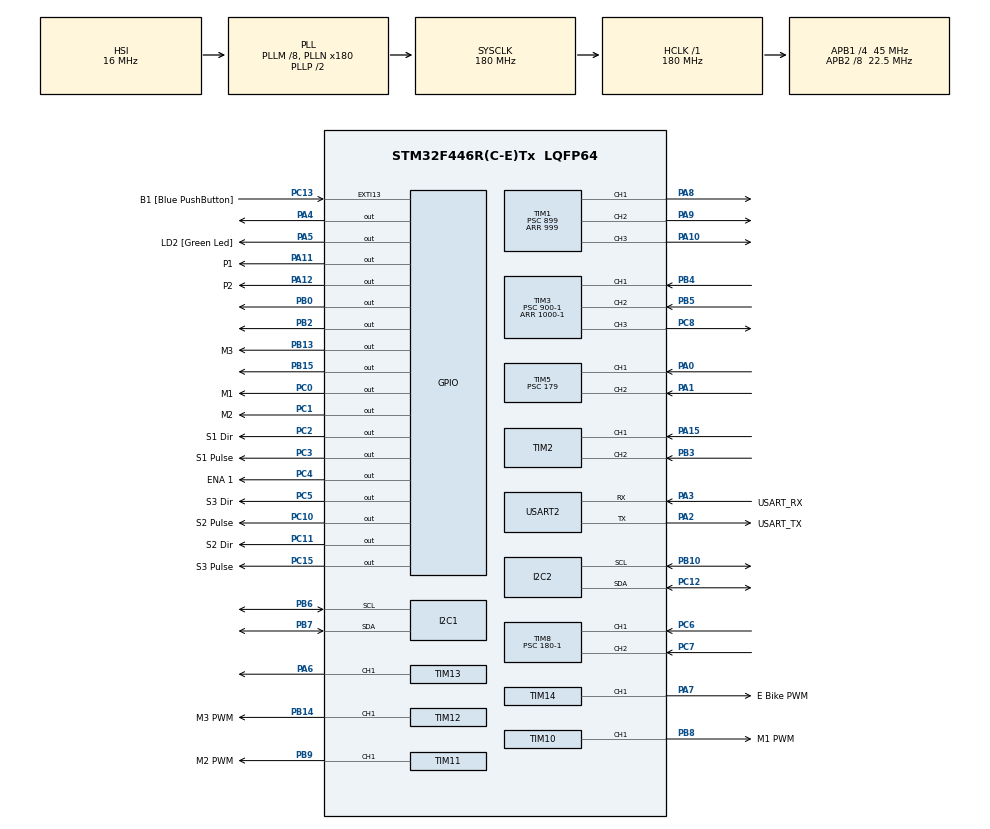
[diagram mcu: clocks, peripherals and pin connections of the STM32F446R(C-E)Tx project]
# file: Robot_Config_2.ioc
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I2C2.OwnAddress=0x10
Mcu.Family=STM32F4
Mcu.Name=STM32F446R(C-E)Tx
Mcu.Package=LQFP64
NVIC.I2C2_ER_IRQn=true\:0\:0\:false\:false\:true\:true\:true\:true
NVIC.I2C2_EV_IRQn=true\:0\:0\:false\:false\:true\:true\:true\:true
NVIC.PriorityGroup=NVIC_PRIORITYGROUP_0
PA0-WKUP.Signal=S_TIM5_CH1
PA1.Signal=S_TIM5_CH2
PA10.Signal=S_TIM1_CH3
PA11.GPIO_Label=P1
PA11.Signal=GPIO_Output
PA12.GPIO_Label=P2
PA12.Signal=GPIO_Output
PA13.GPIO_Label=TMS
PA13.Mode=Serial_Wire
PA13.Signal=SYS_JTMS-SWDIO
PA14.GPIO_Label=TCK
PA14.Mode=Serial_Wire
PA14.Signal=SYS_JTCK-SWCLK
PA15.GPIO_PuPd=GPIO_PULLUP
PA15.Signal=S_TIM2_CH1_ETR
PA2.GPIO_Label=USART_TX
PA2.Mode=Asynchronous
PA2.Signal=USART2_TX
PA3.GPIO_Label=USART_RX
PA3.Mode=Asynchronous
PA3.Signal=USART2_RX
PA4.Signal=GPIO_Output
PA5.GPIO_Label=LD2 [Green Led]
PA5.Signal=GPIO_Output
PA6.Signal=S_TIM13_CH1
PA7.GPIO_Label=E Bike PWM
PA7.Signal=S_TIM14_CH1
PA8.Signal=S_TIM1_CH1
PA9.Signal=S_TIM1_CH2
PB0.Signal=GPIO_Output
PB10.Mode=I2C
PB10.Signal=I2C2_SCL
PB13.GPIO_Label=M3
PB13.Signal=GPIO_Output
PB14.GPIO_Label=M3 PWM
PB14.Signal=S_TIM12_CH1
PB15.Signal=GPIO_Output
PB2.Signal=GPIO_Output
PB3.GPIO_PuPd=GPIO_PULLUP
PB3.Signal=S_TIM2_CH2
PB4.GPIO_PuPd=GPIO_PULLUP
PB4.Signal=S_TIM3_CH1
PB5.GPIO_PuPd=GPIO_PULLUP
PB5.Signal=S_TIM3_CH2
PB6.Mode=I2C
PB6.Signal=I2C1_SCL
PB7.Mode=I2C
PB7.Signal=I2C1_SDA
PB8.GPIO_Label=M1 PWM
PB8.Signal=S_TIM10_CH1
PB9.GPIO_Label=M2 PWM
PB9.Signal=S_TIM11_CH1
PC0.GPIO_Label=M1
PC0.Signal=GPIO_Output
PC1.GPIO_Label=M2
PC1.Signal=GPIO_Output
PC10.GPIO_Label=S2 Pulse
PC10.Signal=GPIO_Output
PC11.GPIO_Label=S2 Dir
PC11.Signal=GPIO_Output
PC12.Mode=I2C
PC12.Signal=I2C2_SDA
PC13.GPIO_Label=B1 [Blue PushButton]
PC13.GPIO_ModeDefaultEXTI=GPIO_MODE_IT_FALLING
PC13.Signal=GPXTI13
PC14-OSC32_IN.Signal=RCC_OSC32_IN
PC15-OSC32_OUT.GPIO_Label=S3 Pulse
PC15-OSC32_OUT.Signal=GPIO_Output
PC2.GPIO_Label=S1 Dir
PC2.Signal=GPIO_Output
PC3.GPIO_Label=S1 Pulse
PC3.Signal=GPIO_Output
PC4.GPIO_Label=ENA 1
PC4.Signal=GPIO_Output
PC5.GPIO_Label=S3 Dir
PC5.Signal=GPIO_Output
PC6.Signal=S_TIM8_CH1
PC7.Signal=S_TIM8_CH2
PC8.Signal=S_TIM3_CH3
PH0-OSC_IN.Mode=HSE-External-Oscillator
PH0-OSC_IN.Signal=RCC_OSC_IN
PH1-OSC_OUT.Mode=HSE-External-Oscillator
PH1-OSC_OUT.Signal=RCC_OSC_OUT
ProjectManager.HeapSize=0x200
ProjectManager.StackSize=0x400
ProjectManager.TargetToolchain=STM32CubeIDE
RCC.48MHZClocksFreq_Value=84000000
RCC.AHBFreq_Value=180000000
RCC.APB1CLKDivider=RCC_HCLK_DIV4
RCC.APB1Freq_Value=45000000
RCC.APB1TimFreq_Value=90000000
RCC.APB2CLKDivider=RCC_HCLK_DIV8
RCC.APB2Freq_Value=22500000
RCC.APB2TimFreq_Value=45000000
RCC.CortexFreq_Value=180000000
RCC.FLatency-AdvancedSettings=FLASH_LATENCY_5
RCC.HCLKFreq_Value=180000000
RCC.HSE_VALUE=8000000
RCC.HSI_VALUE=16000000
RCC.PLLM=8
RCC.PLLN=180
RCC.SYSCLKFreq_VALUE=180000000
RCC.SYSCLKSource=RCC_SYSCLKSOURCE_PLLCLK
RCC.USBFreq_Value=180000000
RCC.VCOOutputFreq_Value=360000000
SH.S_TIM10_CH1.0=TIM10_CH1,PWM Generation1 CH1
SH.S_TIM11_CH1.0=TIM11_CH1,PWM Generation1 CH1
SH.S_TIM12_CH1.0=TIM12_CH1,PWM Generation1 CH1
SH.S_TIM13_CH1.0=TIM13_CH1,PWM Generation1 CH1
SH.S_TIM14_CH1.0=TIM14_CH1,PWM Generation1 CH1
SH.S_TIM1_CH1.0=TIM1_CH1,PWM Generation1 CH1
SH.S_TIM1_CH2.0=TIM1_CH2,PWM Generation2 CH2
SH.S_TIM1_CH3.0=TIM1_CH3,PWM Generation3 CH3
SH.S_TIM2_CH1_ETR.0=TIM2_CH1,Encoder_Interface
SH.S_TIM2_CH2.0=TIM2_CH2,Encoder_Interface
SH.S_TIM3_CH1.0=TIM3_CH1,Encoder_Interface
SH.S_TIM3_CH2.0=TIM3_CH2,Encoder_Interface
SH.S_TIM3_CH3.0=TIM3_CH3,PWM Generation3 CH3
SH.S_TIM5_CH1.0=TIM5_CH1,Encoder_Interface
SH.S_TIM5_CH2.0=TIM5_CH2,Encoder_Interface
SH.S_TIM8_CH1.0=TIM8_CH1,Encoder_Interface
SH.S_TIM8_CH2.0=TIM8_CH2,Encoder_Interface
TIM1.Channel-PWM\ Generation1\ CH1=TIM_CHANNEL_1
TIM1.Channel-PWM\ Generation2\ CH2=TIM_CHANNEL_2
TIM1.Channel-PWM\ Generation3\ CH3=TIM_CHANNEL_3
TIM1.Period=999
TIM1.Prescaler=899
TIM10.Channel=TIM_CHANNEL_1
TIM10.Period=999
TIM10.Prescaler=179
TIM11.Channel=TIM_CHANNEL_1
TIM11.Period=999
TIM11.Prescaler=179
TIM12.Channel-PWM\ Generation1\ CH1=TIM_CHANNEL_1
TIM12.Period=999
TIM12.Prescaler=179
TIM13.Channel=TIM_CHANNEL_1
TIM13.Period=999
TIM13.Prescaler=179
TIM14.Channel=TIM_CHANNEL_1
TIM14.Period=999
TIM14.Prescaler=179
TIM3.Channel-PWM\ Generation3\ CH3=TIM_CHANNEL_3
TIM3.Period=1000-1
TIM3.Prescaler=900-1
TIM5.Period=999
TIM5.Prescaler=179
TIM8.Period=1000-1
TIM8.Prescaler=180-1
USART2.VirtualMode=VM_ASYNC
VP_TIM10_VS_ClockSourceINT.Mode=Enable_Timer
VP_TIM11_VS_ClockSourceINT.Mode=Enable_Timer
VP_TIM12_VS_ClockSourceINT.Mode=Internal
VP_TIM13_VS_ClockSourceINT.Mode=Enable_Timer
VP_TIM14_VS_ClockSourceINT.Mode=Enable_Timer
VP_TIM1_VS_ClockSourceINT.Mode=Internal
board=NUCLEO-F446RE

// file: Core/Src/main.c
/* USER CODE BEGIN Header */
/**
 ******************************************************************************
 * @file           : main.c
 * @brief          : Main program body
 ******************************************************************************
 * @attention
 *
 * Copyright (c) 2025 STMicroelectronics.
 * All rights reserved.
 *
 * This software is licensed under terms that can be found in the LICENSE file
 * in the root directory of this software component.
 * If no LICENSE file comes with this software, it is provided AS-IS.
 *
 ******************************************************************************
 */
/* USER CODE END Header */
#include "main.h"

/* USER CODE BEGIN Includes */

#include<stdio.h>
#include<inttypes.h>
#include<Math.h>
#include <stdbool.h>
#include <stdlib.h>
#include <string.h>
//#define WHEEL_RADIUS        63.5f    // meters
//#define ENCODER_COUNTS_PER_REV  349.9844447f // Encoder counts per wheel revolution
//#define L                   0.314f     // Distance from robot center to wheels (meters)
#define STEPS 240

// Global variables
float x_global = 0.0f;      // Global X position (meters)
float y_global = 0.0f;      // Global Y position (meters)
float theta_prev = 0.0f;    // Previous IMU yaw (radians)
int32_t encoder_prev[3] = { 0 }; // Previous encoder counts for wheels 1, 2, 3

#define pi 3.1415926535
#define PI 3.1415926535

#define l0 0.3

#define I2C_SLAVE_ADDRESS 0x08
/* USER CODE END Includes */

I2C_HandleTypeDef hi2c1;
I2C_HandleTypeDef hi2c2;

TIM_HandleTypeDef htim1;
TIM_HandleTypeDef htim2;
TIM_HandleTypeDef htim3;
TIM_HandleTypeDef htim5;
TIM_HandleTypeDef htim8;
TIM_HandleTypeDef htim10;
TIM_HandleTypeDef htim11;
TIM_HandleTypeDef htim12;
TIM_HandleTypeDef htim13;
TIM_HandleTypeDef htim14;

UART_HandleTypeDef huart2;

/* USER CODE BEGIN PV */
double wfl, wfr, wrl, wrr, wz;
const double r = 75;
double target_wf = 0, target_wrl = 0, target_wrr = 0;
double current_wf = 0, current_wrl = 0, current_wrr = 0;
const double decelerationRate = 30.0;
double w;
double rL, thetaL, rR, thetaR;
const int deadzone = 40;

static uint32_t last_step_time = 0;
static uint32_t last_step_time1 = 0;
static int step_state = 0;
static int step_state1 = 0;
static int direction1 = 1;
int step_delay = 1;
int step_delay1 = 1;
static int stepper_running = 0;  // Toggle flag
static int stepper_running1 = 0;  // Toggle flag
static int ebike_running = 0;  // Toggle flag
static int prev_cir = 0;
static int prev_tri = 0;
static int prev_cro = 0;
static int prev_squ = 0;
static int prev_down = 0;
static int prev_ll1 = 0;
static int prev_rr1 = 0;
static int prev_ll2 = 0;
static int prev_rr2 = 0;
uint32_t target_steps = 0;
uint32_t current_steps = 0;
uint32_t target_steps1 = 0;
uint32_t current_steps1 = 0;
uint32_t drib_speed = 70;

// Encoder counters
int16_t signed_counter1 = 0;
int32_t signed_counter2 = 0;
int16_t signed_counter3 = 0;

uint8_t rxbuff[16];
volatile uint8_t dataReceived = 0;
int slow = 125;
int fast = 850;
int Buff1 = 50;
int Buff2 = -50;
int BuffP = 50;
int BuffN = -50;
//int target_wf, target_wrr, target_wrl, w;
int32_t lx, ly, rx, ry, cro, squ, tri, cir, up, down, left, right, ll1, rr1,
		ll2, rr2;
//int deadzone = 50;
//int l0 = 310;
//float cos30 = (sqrt(3)/2);
float cos30 = 0.5;

float dist1 = 0.0f;
float dist2 = 0.0f;
float dist3 = 0.0f;
float dist4 = 0.0f;

float last_encoder1 = 0.0f;
float last_encoder2 = 0.0f;
float last_encoder3 = 0.0f;

typedef enum {
	STOP, FORWARD, BACKWARD, RIGHT, LEFT, CLOCKWISE, ANTICLOCKWISE
} MovementState;

// Global position and orientation
volatile float x = 0.0f; // mm
volatile float y = 0.0f; // mm
volatile float theta = 0.0f; // radians

// Encoder state
volatile int32_t prev_encoder5 = 0;
volatile int32_t prev_encoder10 = 0;
volatile int32_t prev_encoder11 = 0;

//BNO055_Data_t imu_data, imuData;

float yaw = 0, q0 = 0, q1 = 0, q2 = 0, q3 = 0;

// pneumatics
static int pneumatic_open = 0;

//servo
static int servoDir = 50;
/* USER CODE END PV */

void SystemClock_Config(void);
static void MX_GPIO_Init(void);
static void MX_USART2_UART_Init(void);
static void MX_TIM1_Init(void);
static void MX_TIM8_Init(void);
static void MX_I2C1_Init(void);
static void MX_TIM5_Init(void);
static void MX_TIM10_Init(void);
static void MX_TIM11_Init(void);
static void MX_TIM13_Init(void);
static void MX_TIM2_Init(void);
static void MX_TIM3_Init(void);
static void MX_TIM12_Init(void);
static void MX_TIM14_Init(void);
static void MX_I2C2_Init(void);

/* USER CODE BEGIN 0 */

//void HAL_I2C_SlaveRxCpltCallback(I2C_HandleTypeDef *hi2c) {
//	if (hi2c->Instance == I2C2) {
//		// Set flag to indicate data received
//		dataReceived = 1;
//	}
//}
//void HAL_I2C_SlaveRxCpltCallback(I2C_HandleTypeDef *hi2c) {
//    HAL_I2C_Slave_Receive_IT(hi2c, rxbuff, 16);
//}
// Global variables for I2C communication
#define I2C_BUFFER_SIZE 16
uint8_t rxbuff[I2C_BUFFER_SIZE] = { 0 };
volatile uint8_t i2c_data_ready = 0;
uint32_t last_i2c_reception = 0;
#define I2C_TIMEOUT_MS 1000  // 1 second timeout for I2C communication

// Initialize I2C communication
void init_i2c_slave(void) {
	// Clear the receive buffer initially
	memset(rxbuff, 0, I2C_BUFFER_SIZE);

	// Start the slave receiver in interrupt mode
	if (HAL_I2C_Slave_Receive_IT(&hi2c2, rxbuff, I2C_BUFFER_SIZE) != HAL_OK) {
		// Handle initialization error
		Error_Handler();
	}

	// Record the initialization time
	last_i2c_reception = HAL_GetTick();
}

// I2C Slave receive complete callback
void HAL_I2C_SlaveRxCpltCallback(I2C_HandleTypeDef *hi2c) {
	if (hi2c->Instance == hi2c2.Instance) {
		// Set flag to indicate data received
		i2c_data_ready = 1;

		// Update the reception timestamp
		last_i2c_reception = HAL_GetTick();

		// Restart the slave receive in interrupt mode
		if (HAL_I2C_Slave_Receive_IT(&hi2c2, rxbuff, I2C_BUFFER_SIZE)
				!= HAL_OK) {
			// If restarting receive fails, handle the error
			Error_Handler();
		}
	}
}

// I2C Error callback
void HAL_I2C_ErrorCallback(I2C_HandleTypeDef *hi2c) {
	if (hi2c->Instance == hi2c2.Instance) {
		// Clear the receive buffer on error
		memset(rxbuff, 0, I2C_BUFFER_SIZE);

		// Reset the ready flag
		i2c_data_ready = 0;

		// Clear all error flags
		hi2c->ErrorCode = HAL_I2C_ERROR_NONE;

		// Re-enable the I2C peripheral if it was disabled due to error
		if (hi2c->State == HAL_I2C_STATE_READY) {
			// Reset the I2C peripheral
			HAL_I2C_DeInit(hi2c);
			HAL_I2C_Init(hi2c);
		}

		// Restart reception
		HAL_I2C_Slave_Receive_IT(&hi2c2, rxbuff, I2C_BUFFER_SIZE);
	}
}

// Check I2C communication status
uint8_t check_i2c_communication(void) {
	uint32_t current_time = HAL_GetTick();

	// Check for timeout
	if (current_time - last_i2c_reception > I2C_TIMEOUT_MS) {
		// No communication for too long, restart I2C
		memset(rxbuff, 0, I2C_BUFFER_SIZE);
		i2c_data_ready = 0;

		// Abort any ongoing transfer
		HAL_I2C_Master_Abort_IT(&hi2c2, I2C_SLAVE_ADDRESS);

		// Restart reception
		HAL_I2C_Slave_Receive_IT(&hi2c2, rxbuff, I2C_BUFFER_SIZE);

		// Update the timestamp
		last_i2c_reception = current_time;

		return 0; // Communication failed
	}

	return 1; // Communication OK
}

// Process I2C data - call this in your main loop
void process_i2c_data(void) {
	// Check if I2C communication is working
	if (!check_i2c_communication()) {
		// Handle communication failure
		printf("I2C communication failure\r\n");
		return;
	}

	// Process data only if new data is available
	if (i2c_data_ready) {
		// Parse the received data
		lx = (rxbuff[0] & 0x80) ?
				(int32_t) rxbuff[0] - 256 : (int32_t) rxbuff[0];
		ly = (rxbuff[1] & 0x80) ?
				(int32_t) rxbuff[1] - 256 : (int32_t) rxbuff[1];
		rx = (rxbuff[2] & 0x80) ?
				(int32_t) rxbuff[2] - 256 : (int32_t) rxbuff[2];
		ry = (rxbuff[3] & 0x80) ?
				(int32_t) rxbuff[3] - 256 : (int32_t) rxbuff[3];
		tri = (rxbuff[4] & 0x80) ?
				(int32_t) rxbuff[4] - 256 : (int32_t) rxbuff[4];
		cir = (rxbuff[5] & 0x80) ?
				(int32_t) rxbuff[5] - 256 : (int32_t) rxbuff[5];
		cro = (rxbuff[6] & 0x80) ?
				(int32_t) rxbuff[6] - 256 : (int32_t) rxbuff[6];
		squ = (rxbuff[7] & 0x80) ?
				(int32_t) rxbuff[7] - 256 : (int32_t) rxbuff[7];
		ll1 = (rxbuff[8] & 0x80) ?
				(int32_t) rxbuff[8] - 256 : (int32_t) rxbuff[8];
		rr1 = (rxbuff[9] & 0x80) ?
				(int32_t) rxbuff[9] - 256 : (int32_t) rxbuff[9];
		ll2 = (rxbuff[10] & 0x80) ?
				(int32_t) rxbuff[10] - 256 : (int32_t) rxbuff[10];
		rr2 = (rxbuff[11] & 0x80) ?
				(int32_t) rxbuff[11] - 256 : (int32_t) rxbuff[11];
		up = (rxbuff[12] & 0x80) ?
				(int32_t) rxbuff[12] - 256 : (int32_t) rxbuff[12];
		down = (rxbuff[13] & 0x80) ?
				(int32_t) rxbuff[13] - 256 : (int32_t) rxbuff[13];
		right = (rxbuff[14] & 0x80) ?
				(int32_t) rxbuff[14] - 256 : (int32_t) rxbuff[14];
		left = (rxbuff[15] & 0x80) ?
				(int32_t) rxbuff[15] - 256 : (int32_t) rxbuff[15];

		// Print data for debugging
//		printf(
//				"Received Integers: %ld %ld %ld %ld %ld %ld %ld %ld %ld %ld %ld %ld %ld %ld %ld %ld %d %d\r\n",
//				lx, ly, rx, ry, tri, cir, cro, squ, ll1, rr1, ll2, rr2, up,
//				down, right, left, ebike_running, drib_speed);

		// Reset the data ready flag
		i2c_data_ready = 0;
	} else {
		lx = 0, ly = 0, rx = 0, ry = 0, cro = 0, squ = 0, tri = 0, cir = 0, up =
				0, down = 0, left = 0, right = 0, ll1 = 0, rr1 = 0, ll2 = 0, rr2 =
				0;
	}
}

//void HAL_UART_RxCpltCallback(UART_HandleTypeDef *huart) {
//	HAL_UART_Receive_DMA(&huart4, rxbuff, 16);
//}

long map(long x, long in_min, long in_max, long out_min, long out_max) {

	return (x - in_min) * (out_max - out_min) / (in_max - in_min) + out_min;

}

void resetEncoders() {
	__HAL_TIM_SET_COUNTER(&htim1, 0);
	__HAL_TIM_SET_COUNTER(&htim2, 0);
	__HAL_TIM_SET_COUNTER(&htim3, 0);
}

void stopEncoders() {
	HAL_TIM_Encoder_Stop(&htim1, TIM_CHANNEL_ALL);
	HAL_TIM_Encoder_Stop(&htim2, TIM_CHANNEL_ALL);
	HAL_TIM_Encoder_Stop(&htim3, TIM_CHANNEL_ALL);
}

void startEncoders() {
	HAL_TIM_Encoder_Start(&htim1, TIM_CHANNEL_ALL);
	HAL_TIM_Encoder_Start(&htim2, TIM_CHANNEL_ALL);
	HAL_TIM_Encoder_Start(&htim3, TIM_CHANNEL_ALL);
}

float constrain(float val, float min_val, float max_val) {
	if (val < min_val) {
		return min_val;
	} else if (val > max_val) {
		return max_val;
	} else {
		return val;
	}
}

void rectToPolar() {
	wz = rx;
	if (abs(lx) < deadzone)
		lx = 0;
	// else lx = (lx > 0) ? lx - deadzone : lx + deadzone;

	if (abs(ly) < deadzone)
		ly = 0;
	// else ly = (ly > 0) ? ly - deadzone : ly + deadzone;

	if (abs(rx) < deadzone)
		rx = 0;
	// else rx = (rx > 0) ? rx - deadzone : rx + deadzone;

	if (abs(ry) < deadzone)
		ry = 0;
	// else ry = (ry > 0) ? ry - deadzone : ry + deadzone;
	rL = sqrt(lx * lx + ly * ly);
	thetaL = atan2(lx, ly);
	rR = sqrt(rx * rx + ry * ry);
	thetaR = atan2(ry, rx);
}

void compute3wheel() {
	// Calculate joystick-based velocities
	const double theta = -30 * pi / 180;
	double lx_rotated = lx * cos(theta) - ly * sin(theta);
	double ly_rotated = lx * sin(theta) + ly * cos(theta);
	double vx = ly_rotated;
	double vy = lx_rotated;
	w = rx * 2.5;
	double speedFactorL = 15 * (rL / 127 + rR / 127) / 2;
	// Modify wheel velocities to include yaw correction
	target_wf = ((-0.5 * vx) + (sqrt(3) / 2) * vy + l0 * w) * speedFactorL;
	target_wrr = ((-0.5 * vx) - (sqrt(3) / 2) * vy + l0 * w) * speedFactorL;
	target_wrl = (vx + l0 * w) * speedFactorL;
	// target_wf=(-0.866*vx + (1/2)*vy + l0*w)*speedFactorL;
	// target_wrr = (0.866*vx + (1/2)*vy + l0*w)*speedFactorL;
	// target_wrl = (-vx + l0*w)*speedFactorL;
	// Constrain target wheel speeds
//	target_wf = constrain(target_wf, -950, 950);
//	target_wrr = constrain(target_wrr, -950, 950);
//	target_wrl = constrain(target_wrl, -950, 950);
}

void applyDeceleration() {
	// Gradually approach target speeds for each wheel
	current_wf += (target_wf - current_wf) / decelerationRate;
	current_wrl += (target_wrl - current_wrl) / decelerationRate;
	current_wrr += (target_wrr - current_wrr) / decelerationRate;

	// Serial.print("wf =");
	// Serial.print(current_wf);
	// Serial.print("wrr =");
	// Serial.print(current_wrr);
	// Serial.print("wrl =");
	// Serial.println(current_wrl);

	// Update motor directions and speeds based on decelerated values
	if (current_wf >= 0) {
		HAL_GPIO_WritePin(GPIOC, GPIO_PIN_0, GPIO_PIN_RESET);
		__HAL_TIM_SET_COMPARE(&htim10, TIM_CHANNEL_1, current_wf);
	} else {
		HAL_GPIO_WritePin(GPIOC, GPIO_PIN_0, GPIO_PIN_SET);
		__HAL_TIM_SET_COMPARE(&htim10, TIM_CHANNEL_1, -current_wf);
	}

	if (current_wrl >= 0) {
		HAL_GPIO_WritePin(GPIOC, GPIO_PIN_1, GPIO_PIN_RESET);
		__HAL_TIM_SET_COMPARE(&htim11, TIM_CHANNEL_1, current_wrl);
	} else {
		HAL_GPIO_WritePin(GPIOC, GPIO_PIN_1, GPIO_PIN_SET);
		__HAL_TIM_SET_COMPARE(&htim11, TIM_CHANNEL_1, -current_wrl);
	}

	if (current_wrr >= 0) {
		HAL_GPIO_WritePin(GPIOB, GPIO_PIN_13, GPIO_PIN_RESET);
		__HAL_TIM_SET_COMPARE(&htim12, TIM_CHANNEL_1, current_wrr);
	} else {
		HAL_GPIO_WritePin(GPIOB, GPIO_PIN_13, GPIO_PIN_SET);
		__HAL_TIM_SET_COMPARE(&htim12, TIM_CHANNEL_1, -current_wrr);
	}
}

/* USER CODE END 0 */

int main(void) {

	/* MCU Configuration--------------------------------------------------------*/

	/* Reset of all peripherals, Initializes the Flash interface and the Systick. */
	HAL_Init();

	/* Configure the system clock */
	SystemClock_Config();

	/* Initialize all configured peripherals */
	MX_GPIO_Init();
	MX_USART2_UART_Init();
	MX_TIM1_Init();
	MX_TIM8_Init();
	MX_I2C1_Init();
	MX_TIM5_Init();
	MX_TIM10_Init();
	MX_TIM11_Init();
	MX_TIM13_Init();
	MX_TIM2_Init();
	MX_TIM3_Init();
	MX_TIM12_Init();
	MX_TIM14_Init();
	MX_I2C2_Init();
	/* USER CODE BEGIN 2 */
//	HAL_UART_Receive_DMA(&huart4, rxbuff, 16);
//	HAL_I2C_Slave_Receive_IT(&hi2c2, rxbuff, 16);
//
	HAL_TIM_Encoder_Start(&htim1, TIM_CHANNEL_ALL);
	HAL_TIM_Encoder_Start(&htim2, TIM_CHANNEL_ALL);
	HAL_TIM_Encoder_Start(&htim3, TIM_CHANNEL_ALL);

	HAL_TIM_PWM_Start(&htim1, TIM_CHANNEL_1);
	HAL_TIM_PWM_Start(&htim1, TIM_CHANNEL_3);
	HAL_TIM_PWM_Start(&htim3, TIM_CHANNEL_3);
	HAL_TIM_PWM_Start(&htim5, TIM_CHANNEL_1);
	HAL_TIM_PWM_Start(&htim10, TIM_CHANNEL_1);
	HAL_TIM_PWM_Start(&htim11, TIM_CHANNEL_1);
	HAL_TIM_PWM_Start(&htim12, TIM_CHANNEL_1);

	// Initialize I2C slave communication
	init_i2c_slave();

	// Set default values
	memset(rxbuff, 0, I2C_BUFFER_SIZE);
	/* USER CODE END 2 */

	/* Infinite loop */
	while (1) {

		/* USER CODE BEGIN 3 */

		/* -------------------- ps5 controller -------------------- */
		process_i2c_data();

		// printing global values
		printf(
				"Received Integers: %ld %ld %ld %ld %ld %ld %ld %ld %ld %ld %ld %ld %ld %ld %ld %ld %d %d\r\n",
				lx, ly, rx, ry, tri, cir, cro, squ, ll1, rr1, ll2, rr2, up,
				down, right, left, ebike_running, drib_speed);

		/* -------------------- 3 wheel -------------------- */
		MovementState current_state = STOP;

		rectToPolar();
		compute3wheel();
		applyDeceleration();

		// reset encoders logic
		if (current_state == CLOCKWISE || current_state == ANTICLOCKWISE) {
			stopEncoders();
		} else {
			startEncoders();
		}

		/* -------------------- 3 encoders -------------------- */

		// get raw encoders data
		uint16_t raw_counter1 = __HAL_TIM_GET_COUNTER(&htim1);
		uint32_t raw_counter2 = __HAL_TIM_GET_COUNTER(&htim2);
		uint16_t raw_counter3 = __HAL_TIM_GET_COUNTER(&htim3);

		// Convert to signed values
		signed_counter1 =
				(raw_counter1 < 32768) ?
						(int16_t) raw_counter1 :
						(int16_t) (raw_counter1 - 65536);
		signed_counter2 =
				(raw_counter2 < 2147483648) ?
						(int32_t) raw_counter2 :
						(int32_t) (raw_counter2 - 4294967296);
		signed_counter3 =
				(raw_counter3 < 32768) ?
						(int16_t) raw_counter3 :
						(int16_t) (raw_counter3 - 65536);

		/* -------------------- IMU -------------------- */
		//		bno055_vector_t v = bno055_getVectorEuler();
		//		//		printf("Heading: %.2f Roll: %.2f Pitch: %.2f\r\n", v.x, v.y, v.z);
		//		v = bno055_getVectorQuaternion();
		//		//		printf("W: %.2f X: %.2f Y: %.2f Z: %.2f\r\n", v.w, v.x, v.y, v.z);
		//		yaw = -(atan2(2.0 * (v.w * v.z + v.x * v.y),
		//				1.0 - 2.0 * (v.y * v.y + v.z * v.z))) * (180.0 / pi);
		////				printf("Yaw: %.2f\r\n", yaw);
		//		printf("Encoder position: %d %d %d X: %.2f Y: %.2f\r\n",
		//				signed_counter1, signed_counter2, signed_counter3, x, y);
		/* -------------------- Stepper -------------------- */

		//		stepper_running1 = 1; // for testing
		// set stepper direction
		HAL_GPIO_WritePin(GPIOC, GPIO_PIN_3,
				direction1 ? GPIO_PIN_SET : GPIO_PIN_RESET);
		HAL_GPIO_WritePin(GPIOC, GPIO_PIN_6,
				!direction1 ? GPIO_PIN_SET : GPIO_PIN_RESET);

		// set direction & set-point
		if (ll1 == 1 && !prev_ll1) {  // LL1 button pressed
			direction1 = 1;  // Set to Anti-clockwise

			// set motor running state
			stepper_running = 1;
			stepper_running1 = 1;

			// assigns target steps
			target_steps = STEPS;
			target_steps1 = STEPS;

			// enable motor (optional)
			HAL_GPIO_WritePin(GPIOC, GPIO_PIN_7, GPIO_PIN_RESET);
		}

		// set direction & set-point
		if (rr1 == 1 && !prev_rr1) {  // RR1 button pressed
			direction1 = 0;  // Set to Clockwise

			// set motor running state
			stepper_running = 1;
			stepper_running1 = 1;

			// assigns target steps
			target_steps = STEPS;
			target_steps1 = STEPS;

			// enable motor (optional)
			HAL_GPIO_WritePin(GPIOC, GPIO_PIN_7, GPIO_PIN_RESET);
		}

		// stop the motor
		if (cir == 1 && !prev_cir) {

			// set motor stop state
			stepper_running = 0;
			stepper_running1 = 0;

			// reset target steps
			current_steps = 0;
			current_steps1 = 0;

			// disable motor (optional)
			HAL_GPIO_WritePin(GPIOC, GPIO_PIN_7, GPIO_PIN_SET);
		}

		// maintains previous states
		prev_ll1 = ll1;
		prev_rr1 = rr1;
		prev_cir = cir;

		// step pulse
		// stepper 1
		if (stepper_running && (HAL_GetTick() - last_step_time) >= step_delay
				&& current_steps < target_steps) {
			last_step_time = HAL_GetTick(); // Update last step time

			if (step_state == 0) {
				HAL_GPIO_WritePin(GPIOC, GPIO_PIN_5, GPIO_PIN_SET); // Step HIGH
				step_state = 1;
				current_steps++;
			} else {
				HAL_GPIO_WritePin(GPIOC, GPIO_PIN_5, GPIO_PIN_RESET); // Step LOW
				step_state = 0;
			}
		}

		// stepper 2
		if (stepper_running1 && (HAL_GetTick() - last_step_time1) >= step_delay1
				&& current_steps1 < target_steps1) {
			last_step_time1 = HAL_GetTick(); // Update last step time

			if (step_state1 == 0) {
				HAL_GPIO_WritePin(GPIOB, GPIO_PIN_15, GPIO_PIN_SET); // Step HIGH
				step_state1 = 1;
				current_steps1++;
			} else {
				HAL_GPIO_WritePin(GPIOB, GPIO_PIN_15, GPIO_PIN_RESET); // Step LOW
				step_state1 = 0;
			}
		}

		// Stop when target steps are reached
		if (current_steps >= target_steps) {
			stepper_running = 0;
			current_steps = 0;
			HAL_GPIO_WritePin(GPIOC, GPIO_PIN_7, GPIO_PIN_SET);
		}

		if (current_steps1 >= target_steps1) {
			stepper_running1 = 0;
			current_steps1 = 0;
			HAL_GPIO_WritePin(GPIOC, GPIO_PIN_7, GPIO_PIN_SET);
		}

		/* -------------------- Dribbling -------------------- */

		// set motor running state
		if (tri == 1 && !prev_tri) {
			ebike_running = 1;
		}

		// set motor stop state
		if (cro == 1 && !prev_cro) {  // cro button pressed
			printf("cross pressed");
			//			direction1 = 0;  // Set to Clockwise
			ebike_running = 0;
		}

		// decreases motor speed
		if (ll2 == 1 && !prev_ll2) {
			drib_speed = drib_speed - 2;
		}

		// increases motor speed
		if (rr2 == 1 && !prev_rr2) {
			drib_speed = drib_speed + 2; //62 speed for passing 50 for dribbling
		}

		// set to default motor speed
		if (down == 1 && !prev_down) {
			drib_speed = 70;
		}

		// if speed below 0, it set to 0
		if (drib_speed < 0) {
			drib_speed = 0;
		}

		// if speed above 100, it set to 100
		if (drib_speed > 100) {
			drib_speed = 100;
		}

		// maintains previous state
		prev_ll2 = ll2;
		prev_rr2 = rr2;
		prev_tri = tri;
		prev_cro = cro;
		prev_down = down;

		// set PWM for e-bike
		if (ebike_running) {
			HAL_GPIO_WritePin(GPIOA, GPIO_PIN_4, 1);
			__HAL_TIM_SET_COMPARE(&htim1, TIM_CHANNEL_3,
					((drib_speed * 999) / 100));
		} else {
			//			HAL_GPIO_WritePin(GPIOC, GPIO_PIN_15, 1);
			__HAL_TIM_SET_COMPARE(&htim1, TIM_CHANNEL_3, 0);
		}

		/* -------------------- pneumatics -------------------- */

		// trigger pneumatic
		if (squ == 1) {
			pneumatic_open = 1;
		} else {
			pneumatic_open = 0;
		}
		//		prev_squ = squ;

		// set pneumatic high
		if (pneumatic_open) {
			HAL_GPIO_WritePin(GPIOB, GPIO_PIN_2, 1);
		} else {
			HAL_GPIO_WritePin(GPIOB, GPIO_PIN_2, 0);
		}

		/* -------------------- servo motor -------------------- */

		if (right == 1) { //net open
			htim1.Instance->CCR1 = 75; // 90 degree
			htim1.Instance->CCR2 = 75;
			htim1.Instance->CCR3 = 75;
		} else if (left == 1) { //net close
			htim1.Instance->CCR1 = 125; // 180 degree
			htim1.Instance->CCR2 = 125;
			htim1.Instance->CCR3 = 125;
		}

	}
	/* USER CODE END 3 */
}

void SystemClock_Config(void) {
	RCC_OscInitTypeDef RCC_OscInitStruct = { 0 };
	RCC_ClkInitTypeDef RCC_ClkInitStruct = { 0 };

	/** Configure the main internal regulator output voltage
	 */
	__HAL_RCC_PWR_CLK_ENABLE();
	__HAL_PWR_VOLTAGESCALING_CONFIG(PWR_REGULATOR_VOLTAGE_SCALE1);

	/** Initializes the RCC Oscillators according to the specified parameters
	 * in the RCC_OscInitTypeDef structure.
	 */
	RCC_OscInitStruct.OscillatorType = RCC_OSCILLATORTYPE_HSI;
	RCC_OscInitStruct.HSIState = RCC_HSI_ON;
	RCC_OscInitStruct.HSICalibrationValue = RCC_HSICALIBRATION_DEFAULT;
	RCC_OscInitStruct.PLL.PLLState = RCC_PLL_ON;
	RCC_OscInitStruct.PLL.PLLSource = RCC_PLLSOURCE_HSI;
	RCC_OscInitStruct.PLL.PLLM = 8;
	RCC_OscInitStruct.PLL.PLLN = 180;
	RCC_OscInitStruct.PLL.PLLP = RCC_PLLP_DIV2;
	RCC_OscInitStruct.PLL.PLLQ = 2;
	RCC_OscInitStruct.PLL.PLLR = 2;
	if (HAL_RCC_OscConfig(&RCC_OscInitStruct) != HAL_OK) {
		Error_Handler();
	}

	/** Activate the Over-Drive mode
	 */
	if (HAL_PWREx_EnableOverDrive() != HAL_OK) {
		Error_Handler();
	}

	/** Initializes the CPU, AHB and APB buses clocks
	 */
	RCC_ClkInitStruct.ClockType = RCC_CLOCKTYPE_HCLK | RCC_CLOCKTYPE_SYSCLK
			| RCC_CLOCKTYPE_PCLK1 | RCC_CLOCKTYPE_PCLK2;
	RCC_ClkInitStruct.SYSCLKSource = RCC_SYSCLKSOURCE_PLLCLK;
	RCC_ClkInitStruct.AHBCLKDivider = RCC_SYSCLK_DIV1;
	RCC_ClkInitStruct.APB1CLKDivider = RCC_HCLK_DIV4;
	RCC_ClkInitStruct.APB2CLKDivider = RCC_HCLK_DIV8;

	if (HAL_RCC_ClockConfig(&RCC_ClkInitStruct, FLASH_LATENCY_5) != HAL_OK) {
		Error_Handler();
	}
}

static void MX_I2C1_Init(void) {

	hi2c1.Instance = I2C1;
	hi2c1.Init.ClockSpeed = 100000;
	hi2c1.Init.DutyCycle = I2C_DUTYCYCLE_2;
	hi2c1.Init.OwnAddress1 = 0;
	hi2c1.Init.AddressingMode = I2C_ADDRESSINGMODE_7BIT;
	hi2c1.Init.DualAddressMode = I2C_DUALADDRESS_DISABLE;
	hi2c1.Init.OwnAddress2 = 0;
	hi2c1.Init.GeneralCallMode = I2C_GENERALCALL_DISABLE;
	hi2c1.Init.NoStretchMode = I2C_NOSTRETCH_DISABLE;
	if (HAL_I2C_Init(&hi2c1) != HAL_OK) {
		Error_Handler();
	}

}

static void MX_I2C2_Init(void) {

	hi2c2.Instance = I2C2;
	hi2c2.Init.ClockSpeed = 100000;
	hi2c2.Init.DutyCycle = I2C_DUTYCYCLE_2;
	hi2c2.Init.OwnAddress1 = 32;
	hi2c2.Init.AddressingMode = I2C_ADDRESSINGMODE_7BIT;
	hi2c2.Init.DualAddressMode = I2C_DUALADDRESS_DISABLE;
	hi2c2.Init.OwnAddress2 = 0;
	hi2c2.Init.GeneralCallMode = I2C_GENERALCALL_DISABLE;
	hi2c2.Init.NoStretchMode = I2C_NOSTRETCH_DISABLE;
	if (HAL_I2C_Init(&hi2c2) != HAL_OK) {
		Error_Handler();
	}

}

static void MX_TIM1_Init(void) {

	TIM_ClockConfigTypeDef sClockSourceConfig = { 0 };
	TIM_MasterConfigTypeDef sMasterConfig = { 0 };
	TIM_OC_InitTypeDef sConfigOC = { 0 };
	TIM_BreakDeadTimeConfigTypeDef sBreakDeadTimeConfig = { 0 };

	htim1.Instance = TIM1;
	htim1.Init.Prescaler = 899;
	htim1.Init.CounterMode = TIM_COUNTERMODE_UP;
	htim1.Init.Period = 999;
	htim1.Init.ClockDivision = TIM_CLOCKDIVISION_DIV1;
	htim1.Init.RepetitionCounter = 0;
	htim1.Init.AutoReloadPreload = TIM_AUTORELOAD_PRELOAD_DISABLE;
	if (HAL_TIM_Base_Init(&htim1) != HAL_OK) {
		Error_Handler();
	}
	sClockSourceConfig.ClockSource = TIM_CLOCKSOURCE_INTERNAL;
	if (HAL_TIM_ConfigClockSource(&htim1, &sClockSourceConfig) != HAL_OK) {
		Error_Handler();
	}
	if (HAL_TIM_PWM_Init(&htim1) != HAL_OK) {
		Error_Handler();
	}
	sMasterConfig.MasterOutputTrigger = TIM_TRGO_RESET;
	sMasterConfig.MasterSlaveMode = TIM_MASTERSLAVEMODE_DISABLE;
	if (HAL_TIMEx_MasterConfigSynchronization(&htim1, &sMasterConfig)
			!= HAL_OK) {
		Error_Handler();
	}
	sConfigOC.OCMode = TIM_OCMODE_PWM1;
	sConfigOC.Pulse = 0;
	sConfigOC.OCPolarity = TIM_OCPOLARITY_HIGH;
	sConfigOC.OCNPolarity = TIM_OCNPOLARITY_HIGH;
	sConfigOC.OCFastMode = TIM_OCFAST_DISABLE;
	sConfigOC.OCIdleState = TIM_OCIDLESTATE_RESET;
	sConfigOC.OCNIdleState = TIM_OCNIDLESTATE_RESET;
	if (HAL_TIM_PWM_ConfigChannel(&htim1, &sConfigOC, TIM_CHANNEL_1)
			!= HAL_OK) {
		Error_Handler();
	}
	if (HAL_TIM_PWM_ConfigChannel(&htim1, &sConfigOC, TIM_CHANNEL_2)
			!= HAL_OK) {
		Error_Handler();
	}
	if (HAL_TIM_PWM_ConfigChannel(&htim1, &sConfigOC, TIM_CHANNEL_3)
			!= HAL_OK) {
		Error_Handler();
	}
	sBreakDeadTimeConfig.OffStateRunMode = TIM_OSSR_DISABLE;
	sBreakDeadTimeConfig.OffStateIDLEMode = TIM_OSSI_DISABLE;
	sBreakDeadTimeConfig.LockLevel = TIM_LOCKLEVEL_OFF;
	sBreakDeadTimeConfig.DeadTime = 0;
	sBreakDeadTimeConfig.BreakState = TIM_BREAK_DISABLE;
	sBreakDeadTimeConfig.BreakPolarity = TIM_BREAKPOLARITY_HIGH;
	sBreakDeadTimeConfig.AutomaticOutput = TIM_AUTOMATICOUTPUT_DISABLE;
	if (HAL_TIMEx_ConfigBreakDeadTime(&htim1, &sBreakDeadTimeConfig)
			!= HAL_OK) {
		Error_Handler();
	}
	HAL_TIM_MspPostInit(&htim1);

}

static void MX_TIM2_Init(void) {

	TIM_Encoder_InitTypeDef sConfig = { 0 };
	TIM_MasterConfigTypeDef sMasterConfig = { 0 };

	htim2.Instance = TIM2;
	htim2.Init.Prescaler = 0;
	htim2.Init.CounterMode = TIM_COUNTERMODE_UP;
	htim2.Init.Period = 4294967295;
	htim2.Init.ClockDivision = TIM_CLOCKDIVISION_DIV1;
	htim2.Init.AutoReloadPreload = TIM_AUTORELOAD_PRELOAD_DISABLE;
	sConfig.EncoderMode = TIM_ENCODERMODE_TI1;
	sConfig.IC1Polarity = TIM_ICPOLARITY_RISING;
	sConfig.IC1Selection = TIM_ICSELECTION_DIRECTTI;
	sConfig.IC1Prescaler = TIM_ICPSC_DIV1;
	sConfig.IC1Filter = 0;
	sConfig.IC2Polarity = TIM_ICPOLARITY_RISING;
	sConfig.IC2Selection = TIM_ICSELECTION_DIRECTTI;
	sConfig.IC2Prescaler = TIM_ICPSC_DIV1;
	sConfig.IC2Filter = 0;
	if (HAL_TIM_Encoder_Init(&htim2, &sConfig) != HAL_OK) {
		Error_Handler();
	}
	sMasterConfig.MasterOutputTrigger = TIM_TRGO_RESET;
	sMasterConfig.MasterSlaveMode = TIM_MASTERSLAVEMODE_DISABLE;
	if (HAL_TIMEx_MasterConfigSynchronization(&htim2, &sMasterConfig)
			!= HAL_OK) {
		Error_Handler();
	}

}

static void MX_TIM3_Init(void) {

	TIM_Encoder_InitTypeDef sConfig = { 0 };
	TIM_MasterConfigTypeDef sMasterConfig = { 0 };
	TIM_OC_InitTypeDef sConfigOC = { 0 };

	htim3.Instance = TIM3;
	htim3.Init.Prescaler = 900 - 1;
	htim3.Init.CounterMode = TIM_COUNTERMODE_UP;
	htim3.Init.Period = 1000 - 1;
	htim3.Init.ClockDivision = TIM_CLOCKDIVISION_DIV1;
	htim3.Init.AutoReloadPreload = TIM_AUTORELOAD_PRELOAD_DISABLE;
	if (HAL_TIM_PWM_Init(&htim3) != HAL_OK) {
		Error_Handler();
	}
	sConfig.EncoderMode = TIM_ENCODERMODE_TI1;
	sConfig.IC1Polarity = TIM_ICPOLARITY_RISING;
	sConfig.IC1Selection = TIM_ICSELECTION_DIRECTTI;
	sConfig.IC1Prescaler = TIM_ICPSC_DIV1;
	sConfig.IC1Filter = 0;
	sConfig.IC2Polarity = TIM_ICPOLARITY_RISING;
	sConfig.IC2Selection = TIM_ICSELECTION_DIRECTTI;
	sConfig.IC2Prescaler = TIM_ICPSC_DIV1;
	sConfig.IC2Filter = 0;
	if (HAL_TIM_Encoder_Init(&htim3, &sConfig) != HAL_OK) {
		Error_Handler();
	}
	sMasterConfig.MasterOutputTrigger = TIM_TRGO_RESET;
	sMasterConfig.MasterSlaveMode = TIM_MASTERSLAVEMODE_DISABLE;
	if (HAL_TIMEx_MasterConfigSynchronization(&htim3, &sMasterConfig)
			!= HAL_OK) {
		Error_Handler();
	}
	sConfigOC.OCMode = TIM_OCMODE_PWM1;
	sConfigOC.Pulse = 0;
	sConfigOC.OCPolarity = TIM_OCPOLARITY_HIGH;
	sConfigOC.OCFastMode = TIM_OCFAST_DISABLE;
	if (HAL_TIM_PWM_ConfigChannel(&htim3, &sConfigOC, TIM_CHANNEL_3)
			!= HAL_OK) {
		Error_Handler();
	}
	HAL_TIM_MspPostInit(&htim3);

}

static void MX_TIM5_Init(void) {

	TIM_Encoder_InitTypeDef sConfig = { 0 };
	TIM_MasterConfigTypeDef sMasterConfig = { 0 };

	htim5.Instance = TIM5;
	htim5.Init.Prescaler = 179;
	htim5.Init.CounterMode = TIM_COUNTERMODE_UP;
	htim5.Init.Period = 999;
	htim5.Init.ClockDivision = TIM_CLOCKDIVISION_DIV1;
	htim5.Init.AutoReloadPreload = TIM_AUTORELOAD_PRELOAD_DISABLE;
	sConfig.EncoderMode = TIM_ENCODERMODE_TI1;
	sConfig.IC1Polarity = TIM_ICPOLARITY_RISING;
	sConfig.IC1Selection = TIM_ICSELECTION_DIRECTTI;
	sConfig.IC1Prescaler = TIM_ICPSC_DIV1;
	sConfig.IC1Filter = 0;
	sConfig.IC2Polarity = TIM_ICPOLARITY_RISING;
	sConfig.IC2Selection = TIM_ICSELECTION_DIRECTTI;
	sConfig.IC2Prescaler = TIM_ICPSC_DIV1;
	sConfig.IC2Filter = 0;
	if (HAL_TIM_Encoder_Init(&htim5, &sConfig) != HAL_OK) {
		Error_Handler();
	}
	sMasterConfig.MasterOutputTrigger = TIM_TRGO_RESET;
	sMasterConfig.MasterSlaveMode = TIM_MASTERSLAVEMODE_DISABLE;
	if (HAL_TIMEx_MasterConfigSynchronization(&htim5, &sMasterConfig)
			!= HAL_OK) {
		Error_Handler();
	}

}

static void MX_TIM8_Init(void) {

	TIM_Encoder_InitTypeDef sConfig = { 0 };
	TIM_MasterConfigTypeDef sMasterConfig = { 0 };

	htim8.Instance = TIM8;
	htim8.Init.Prescaler = 180 - 1;
	htim8.Init.CounterMode = TIM_COUNTERMODE_UP;
	htim8.Init.Period = 1000 - 1;
	htim8.Init.ClockDivision = TIM_CLOCKDIVISION_DIV1;
	htim8.Init.RepetitionCounter = 0;
	htim8.Init.AutoReloadPreload = TIM_AUTORELOAD_PRELOAD_DISABLE;
	sConfig.EncoderMode = TIM_ENCODERMODE_TI1;
	sConfig.IC1Polarity = TIM_ICPOLARITY_RISING;
	sConfig.IC1Selection = TIM_ICSELECTION_DIRECTTI;
	sConfig.IC1Prescaler = TIM_ICPSC_DIV1;
	sConfig.IC1Filter = 0;
	sConfig.IC2Polarity = TIM_ICPOLARITY_RISING;
	sConfig.IC2Selection = TIM_ICSELECTION_DIRECTTI;
	sConfig.IC2Prescaler = TIM_ICPSC_DIV1;
	sConfig.IC2Filter = 0;
	if (HAL_TIM_Encoder_Init(&htim8, &sConfig) != HAL_OK) {
		Error_Handler();
	}
	sMasterConfig.MasterOutputTrigger = TIM_TRGO_RESET;
	sMasterConfig.MasterSlaveMode = TIM_MASTERSLAVEMODE_DISABLE;
	if (HAL_TIMEx_MasterConfigSynchronization(&htim8, &sMasterConfig)
			!= HAL_OK) {
		Error_Handler();
	}

}

static void MX_TIM10_Init(void) {

	TIM_OC_InitTypeDef sConfigOC = { 0 };

	htim10.Instance = TIM10;
	htim10.Init.Prescaler = 179;
	htim10.Init.CounterMode = TIM_COUNTERMODE_UP;
	htim10.Init.Period = 999;
	htim10.Init.ClockDivision = TIM_CLOCKDIVISION_DIV1;
	htim10.Init.AutoReloadPreload = TIM_AUTORELOAD_PRELOAD_DISABLE;
	if (HAL_TIM_Base_Init(&htim10) != HAL_OK) {
		Error_Handler();
	}
	if (HAL_TIM_PWM_Init(&htim10) != HAL_OK) {
		Error_Handler();
	}
	sConfigOC.OCMode = TIM_OCMODE_PWM1;
	sConfigOC.Pulse = 0;
	sConfigOC.OCPolarity = TIM_OCPOLARITY_HIGH;
	sConfigOC.OCFastMode = TIM_OCFAST_DISABLE;
	if (HAL_TIM_PWM_ConfigChannel(&htim10, &sConfigOC, TIM_CHANNEL_1)
			!= HAL_OK) {
		Error_Handler();
	}
	HAL_TIM_MspPostInit(&htim10);

}

static void MX_TIM11_Init(void) {

	TIM_OC_InitTypeDef sConfigOC = { 0 };

	htim11.Instance = TIM11;
	htim11.Init.Prescaler = 179;
	htim11.Init.CounterMode = TIM_COUNTERMODE_UP;
	htim11.Init.Period = 999;
	htim11.Init.ClockDivision = TIM_CLOCKDIVISION_DIV1;
	htim11.Init.AutoReloadPreload = TIM_AUTORELOAD_PRELOAD_DISABLE;
	if (HAL_TIM_Base_Init(&htim11) != HAL_OK) {
		Error_Handler();
	}
	if (HAL_TIM_PWM_Init(&htim11) != HAL_OK) {
		Error_Handler();
	}
	sConfigOC.OCMode = TIM_OCMODE_PWM1;
	sConfigOC.Pulse = 0;
	sConfigOC.OCPolarity = TIM_OCPOLARITY_HIGH;
	sConfigOC.OCFastMode = TIM_OCFAST_DISABLE;
	if (HAL_TIM_PWM_ConfigChannel(&htim11, &sConfigOC, TIM_CHANNEL_1)
			!= HAL_OK) {
		Error_Handler();
	}
	HAL_TIM_MspPostInit(&htim11);

}

static void MX_TIM12_Init(void) {

	TIM_ClockConfigTypeDef sClockSourceConfig = { 0 };
	TIM_OC_InitTypeDef sConfigOC = { 0 };

	htim12.Instance = TIM12;
	htim12.Init.Prescaler = 179;
	htim12.Init.CounterMode = TIM_COUNTERMODE_UP;
	htim12.Init.Period = 999;
	htim12.Init.ClockDivision = TIM_CLOCKDIVISION_DIV1;
	htim12.Init.AutoReloadPreload = TIM_AUTORELOAD_PRELOAD_DISABLE;
	if (HAL_TIM_Base_Init(&htim12) != HAL_OK) {
		Error_Handler();
	}
	sClockSourceConfig.ClockSource = TIM_CLOCKSOURCE_INTERNAL;
	if (HAL_TIM_ConfigClockSource(&htim12, &sClockSourceConfig) != HAL_OK) {
		Error_Handler();
	}
	if (HAL_TIM_PWM_Init(&htim12) != HAL_OK) {
		Error_Handler();
	}
	sConfigOC.OCMode = TIM_OCMODE_PWM1;
	sConfigOC.Pulse = 0;
	sConfigOC.OCPolarity = TIM_OCPOLARITY_HIGH;
	sConfigOC.OCFastMode = TIM_OCFAST_DISABLE;
	if (HAL_TIM_PWM_ConfigChannel(&htim12, &sConfigOC, TIM_CHANNEL_1)
			!= HAL_OK) {
		Error_Handler();
	}
	HAL_TIM_MspPostInit(&htim12);

}

static void MX_TIM13_Init(void) {

	TIM_OC_InitTypeDef sConfigOC = { 0 };

	htim13.Instance = TIM13;
	htim13.Init.Prescaler = 179;
	htim13.Init.CounterMode = TIM_COUNTERMODE_UP;
	htim13.Init.Period = 999;
	htim13.Init.ClockDivision = TIM_CLOCKDIVISION_DIV1;
	htim13.Init.AutoReloadPreload = TIM_AUTORELOAD_PRELOAD_DISABLE;
	if (HAL_TIM_Base_Init(&htim13) != HAL_OK) {
		Error_Handler();
	}
	if (HAL_TIM_PWM_Init(&htim13) != HAL_OK) {
		Error_Handler();
	}
	sConfigOC.OCMode = TIM_OCMODE_PWM1;
	sConfigOC.Pulse = 0;
	sConfigOC.OCPolarity = TIM_OCPOLARITY_HIGH;
	sConfigOC.OCFastMode = TIM_OCFAST_DISABLE;
	if (HAL_TIM_PWM_ConfigChannel(&htim13, &sConfigOC, TIM_CHANNEL_1)
			!= HAL_OK) {
		Error_Handler();
	}
	HAL_TIM_MspPostInit(&htim13);

}

static void MX_TIM14_Init(void) {

	TIM_OC_InitTypeDef sConfigOC = { 0 };

	htim14.Instance = TIM14;
	htim14.Init.Prescaler = 179;
	htim14.Init.CounterMode = TIM_COUNTERMODE_UP;
	htim14.Init.Period = 999;
	htim14.Init.ClockDivision = TIM_CLOCKDIVISION_DIV1;
	htim14.Init.AutoReloadPreload = TIM_AUTORELOAD_PRELOAD_DISABLE;
	if (HAL_TIM_Base_Init(&htim14) != HAL_OK) {
		Error_Handler();
	}
	if (HAL_TIM_PWM_Init(&htim14) != HAL_OK) {
		Error_Handler();
	}
	sConfigOC.OCMode = TIM_OCMODE_PWM1;
	sConfigOC.Pulse = 0;
	sConfigOC.OCPolarity = TIM_OCPOLARITY_HIGH;
	sConfigOC.OCFastMode = TIM_OCFAST_DISABLE;
	if (HAL_TIM_PWM_ConfigChannel(&htim14, &sConfigOC, TIM_CHANNEL_1)
			!= HAL_OK) {
		Error_Handler();
	}
	HAL_TIM_MspPostInit(&htim14);

}

static void MX_USART2_UART_Init(void) {

	huart2.Instance = USART2;
	huart2.Init.BaudRate = 115200;
	huart2.Init.WordLength = UART_WORDLENGTH_8B;
	huart2.Init.StopBits = UART_STOPBITS_1;
	huart2.Init.Parity = UART_PARITY_NONE;
	huart2.Init.Mode = UART_MODE_TX_RX;
	huart2.Init.HwFlowCtl = UART_HWCONTROL_NONE;
	huart2.Init.OverSampling = UART_OVERSAMPLING_16;
	if (HAL_UART_Init(&huart2) != HAL_OK) {
		Error_Handler();
	}

}

static void MX_GPIO_Init(void) {
	GPIO_InitTypeDef GPIO_InitStruct = { 0 };

	/* GPIO Ports Clock Enable */
	__HAL_RCC_GPIOC_CLK_ENABLE();
	__HAL_RCC_GPIOH_CLK_ENABLE();
	__HAL_RCC_GPIOA_CLK_ENABLE();
	__HAL_RCC_GPIOB_CLK_ENABLE();

	/*Configure GPIO pin Output Level */
	HAL_GPIO_WritePin(GPIOC,
			S3_Pulse_Pin | M1_Pin | M2_Pin | S1_Dir_Pin | S1_Pulse_Pin
					| ENA_1_Pin | S3_Dir_Pin | S2_Pulse_Pin | S2_Dir_Pin,
			GPIO_PIN_RESET);

	/*Configure GPIO pin Output Level */
	HAL_GPIO_WritePin(GPIOA, GPIO_PIN_4 | LD2_Pin | P1_Pin | P2_Pin,
			GPIO_PIN_RESET);

	/*Configure GPIO pin Output Level */
	HAL_GPIO_WritePin(GPIOB, GPIO_PIN_0 | GPIO_PIN_2 | M3_Pin | GPIO_PIN_15,
			GPIO_PIN_RESET);

	/*Configure GPIO pin : B1_Pin */
	GPIO_InitStruct.Pin = B1_Pin;
	GPIO_InitStruct.Mode = GPIO_MODE_IT_FALLING;
	GPIO_InitStruct.Pull = GPIO_NOPULL;
	HAL_GPIO_Init(B1_GPIO_Port, &GPIO_InitStruct);

	/*Configure GPIO pins : S3_Pulse_Pin M1_Pin M2_Pin S1_Dir_Pin
	 S1_Pulse_Pin ENA_1_Pin S3_Dir_Pin S2_Pulse_Pin
	 S2_Dir_Pin */
	GPIO_InitStruct.Pin = S3_Pulse_Pin | M1_Pin | M2_Pin | S1_Dir_Pin
			| S1_Pulse_Pin | ENA_1_Pin | S3_Dir_Pin | S2_Pulse_Pin | S2_Dir_Pin;
	GPIO_InitStruct.Mode = GPIO_MODE_OUTPUT_PP;
	GPIO_InitStruct.Pull = GPIO_NOPULL;
	GPIO_InitStruct.Speed = GPIO_SPEED_FREQ_LOW;
	HAL_GPIO_Init(GPIOC, &GPIO_InitStruct);

	/*Configure GPIO pins : PA4 LD2_Pin P1_Pin P2_Pin */
	GPIO_InitStruct.Pin = GPIO_PIN_4 | LD2_Pin | P1_Pin | P2_Pin;
	GPIO_InitStruct.Mode = GPIO_MODE_OUTPUT_PP;
	GPIO_InitStruct.Pull = GPIO_NOPULL;
	GPIO_InitStruct.Speed = GPIO_SPEED_FREQ_LOW;
	HAL_GPIO_Init(GPIOA, &GPIO_InitStruct);

	/*Configure GPIO pins : PB0 PB2 M3_Pin PB15 */
	GPIO_InitStruct.Pin = GPIO_PIN_0 | GPIO_PIN_2 | M3_Pin | GPIO_PIN_15;
	GPIO_InitStruct.Mode = GPIO_MODE_OUTPUT_PP;
	GPIO_InitStruct.Pull = GPIO_NOPULL;
	GPIO_InitStruct.Speed = GPIO_SPEED_FREQ_LOW;
	HAL_GPIO_Init(GPIOB, &GPIO_InitStruct);

}

/* USER CODE BEGIN 4 */
int _write(int file, char *ptr, int len) {
	HAL_UART_Transmit(&huart2, (uint8_t*) ptr, len, HAL_MAX_DELAY);
	return len;
}
/* USER CODE END 4 */

void Error_Handler(void) {
	__disable_irq();
	while (1) {
	}
}
